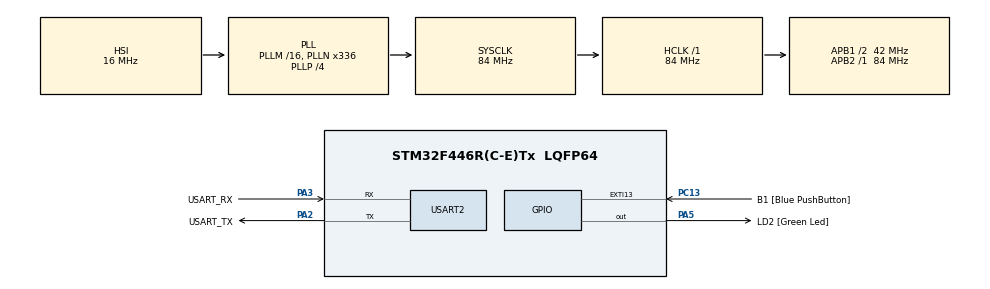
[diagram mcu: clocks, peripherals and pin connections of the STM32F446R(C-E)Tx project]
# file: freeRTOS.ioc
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FREERTOS.Tasks01=TaskAsilD,24,128,StartTaskAsilD,Default,NULL,Dynamic,NULL,NULL;TaskQM,8,128,StartTaskQM,Default,NULL,Dynamic,NULL,NULL
Mcu.Family=STM32F4
Mcu.Name=STM32F446R(C-E)Tx
Mcu.Package=LQFP64
NVIC.PriorityGroup=NVIC_PRIORITYGROUP_4
NVIC.TIM6_DAC_IRQn=true\:15\:0\:false\:false\:true\:false\:false\:true\:true
NVIC.TimeBase=TIM6_DAC_IRQn
NVIC.TimeBaseIP=TIM6
NVIC.USART2_IRQn=true\:5\:0\:false\:false\:true\:true\:true\:true\:true
PA13.GPIO_Label=TMS
PA13.Mode=Trace_Asynchronous_SW
PA13.Signal=SYS_JTMS-SWDIO
PA14.GPIO_Label=TCK
PA14.Mode=Trace_Asynchronous_SW
PA14.Signal=SYS_JTCK-SWCLK
PA2.GPIO_Label=USART_TX
PA2.Mode=Asynchronous
PA2.Signal=USART2_TX
PA3.GPIO_Label=USART_RX
PA3.Mode=Asynchronous
PA3.Signal=USART2_RX
PA5.GPIO_Label=LD2 [Green Led]
PA5.Signal=GPIO_Output
PB3.GPIO_Label=SWO
PB3.Mode=Trace_Asynchronous_SW
PB3.Signal=SYS_JTDO-SWO
PC13.GPIO_Label=B1 [Blue PushButton]
PC13.GPIO_ModeDefaultEXTI=GPIO_MODE_IT_FALLING
PC13.Signal=GPXTI13
PC14-OSC32_IN.Mode=LSE-External-Oscillator
PC14-OSC32_IN.Signal=RCC_OSC32_IN
PC15-OSC32_OUT.Mode=LSE-External-Oscillator
PC15-OSC32_OUT.Signal=RCC_OSC32_OUT
PH0-OSC_IN.Mode=HSE-External-Oscillator
PH0-OSC_IN.Signal=RCC_OSC_IN
PH1-OSC_OUT.Mode=HSE-External-Oscillator
PH1-OSC_OUT.Signal=RCC_OSC_OUT
ProjectManager.HeapSize=0x200
ProjectManager.StackSize=0x400
ProjectManager.TargetToolchain=STM32CubeIDE
RCC.48MHZClocksFreq_Value=84000000
RCC.AHBFreq_Value=84000000
RCC.APB1CLKDivider=RCC_HCLK_DIV2
RCC.APB1Freq_Value=42000000
RCC.APB1TimFreq_Value=84000000
RCC.APB2Freq_Value=84000000
RCC.APB2TimFreq_Value=84000000
RCC.CortexFreq_Value=84000000
RCC.FLatency-AdvancedSettings=FLASH_LATENCY_2
RCC.HCLKFreq_Value=84000000
RCC.HSE_VALUE=8000000
RCC.HSI_VALUE=16000000
RCC.PLLN=336
RCC.PLLP=RCC_PLLP_DIV4
RCC.SYSCLKFreq_VALUE=84000000
RCC.SYSCLKSource=RCC_SYSCLKSOURCE_PLLCLK
RCC.USBFreq_Value=168000000
RCC.VCOOutputFreq_Value=336000000
USART2.VirtualMode=VM_ASYNC
VP_FREERTOS_VS_CMSIS_V2.Mode=CMSIS_V2
VP_SYS_VS_tim6.Mode=TIM6
board=NUCLEO-F446RE

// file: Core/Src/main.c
/* USER CODE BEGIN Header */
/**
  ******************************************************************************
  * @file           : main.c
  * @brief          : Main program body
  ******************************************************************************
  * @attention
  *
  * Copyright (c) 2023 STMicroelectronics.
  * All rights reserved.
  *
  * This software is licensed under terms that can be found in the LICENSE file
  * in the root directory of this software component.
  * If no LICENSE file comes with this software, it is provided AS-IS.
  *
  ******************************************************************************
  */
/* USER CODE END Header */
#include "main.h"
#include "cmsis_os.h"

/* USER CODE BEGIN Includes */
#include <string.h>
#include <stdio.h>
/* USER CODE END Includes */

UART_HandleTypeDef huart2;

/* Definitions for TaskAsilD */
osThreadId_t TaskAsilDHandle;
const osThreadAttr_t TaskAsilD_attributes = {
  .name = "TaskAsilD",
  .stack_size = 128 * 4,
  .priority = (osPriority_t) osPriorityNormal,
};
/* Definitions for TaskQM */
osThreadId_t TaskQMHandle;
const osThreadAttr_t TaskQM_attributes = {
  .name = "TaskQM",
  .stack_size = 128 * 4,
  .priority = (osPriority_t) osPriorityLow,
};

void SystemClock_Config(void);
static void MX_GPIO_Init(void);
static void MX_USART2_UART_Init(void);
void StartTaskAsilD(void *argument);
void StartTaskQM(void *argument);

/* USER CODE BEGIN 0 */
int _write(int file, char *ptr, int len)
{
	HAL_UART_Transmit(&huart2, (uint8_t*) ptr, (uint16_t) len, HAL_MAX_DELAY);
	return len;
}
/* USER CODE END 0 */

int main(void)
{

  /* MCU Configuration--------------------------------------------------------*/

  /* Reset of all peripherals, Initializes the Flash interface and the Systick. */
  HAL_Init();

  /* Configure the system clock */
  SystemClock_Config();

  /* Initialize all configured peripherals */
  MX_GPIO_Init();
  MX_USART2_UART_Init();

  /* Init scheduler */
  osKernelInitialize();

  /* Create the thread(s) */
  /* creation of TaskAsilD */
  TaskAsilDHandle = osThreadNew(StartTaskAsilD, NULL, &TaskAsilD_attributes);

  /* creation of TaskQM */
  TaskQMHandle = osThreadNew(StartTaskQM, NULL, &TaskQM_attributes);

  /* Start scheduler */
  osKernelStart();
  /* We should never get here as control is now taken by the scheduler */
  /* Infinite loop */
  while (1)
  {

  }
}

void SystemClock_Config(void)
{
  RCC_OscInitTypeDef RCC_OscInitStruct = {0};
  RCC_ClkInitTypeDef RCC_ClkInitStruct = {0};

  /** Configure the main internal regulator output voltage
  */
  __HAL_RCC_PWR_CLK_ENABLE();
  __HAL_PWR_VOLTAGESCALING_CONFIG(PWR_REGULATOR_VOLTAGE_SCALE3);

  /** Initializes the RCC Oscillators according to the specified parameters
  * in the RCC_OscInitTypeDef structure.
  */
  RCC_OscInitStruct.OscillatorType = RCC_OSCILLATORTYPE_HSI;
  RCC_OscInitStruct.HSIState = RCC_HSI_ON;
  RCC_OscInitStruct.HSICalibrationValue = RCC_HSICALIBRATION_DEFAULT;
  RCC_OscInitStruct.PLL.PLLState = RCC_PLL_ON;
  RCC_OscInitStruct.PLL.PLLSource = RCC_PLLSOURCE_HSI;
  RCC_OscInitStruct.PLL.PLLM = 16;
  RCC_OscInitStruct.PLL.PLLN = 336;
  RCC_OscInitStruct.PLL.PLLP = RCC_PLLP_DIV4;
  RCC_OscInitStruct.PLL.PLLQ = 2;
  RCC_OscInitStruct.PLL.PLLR = 2;
  if (HAL_RCC_OscConfig(&RCC_OscInitStruct) != HAL_OK)
  {
    Error_Handler();
  }

  /** Initializes the CPU, AHB and APB buses clocks
  */
  RCC_ClkInitStruct.ClockType = RCC_CLOCKTYPE_HCLK|RCC_CLOCKTYPE_SYSCLK
                              |RCC_CLOCKTYPE_PCLK1|RCC_CLOCKTYPE_PCLK2;
  RCC_ClkInitStruct.SYSCLKSource = RCC_SYSCLKSOURCE_PLLCLK;
  RCC_ClkInitStruct.AHBCLKDivider = RCC_SYSCLK_DIV1;
  RCC_ClkInitStruct.APB1CLKDivider = RCC_HCLK_DIV2;
  RCC_ClkInitStruct.APB2CLKDivider = RCC_HCLK_DIV1;

  if (HAL_RCC_ClockConfig(&RCC_ClkInitStruct, FLASH_LATENCY_2) != HAL_OK)
  {
    Error_Handler();
  }
}

static void MX_USART2_UART_Init(void)
{

  huart2.Instance = USART2;
  huart2.Init.BaudRate = 115200;
  huart2.Init.WordLength = UART_WORDLENGTH_8B;
  huart2.Init.StopBits = UART_STOPBITS_1;
  huart2.Init.Parity = UART_PARITY_NONE;
  huart2.Init.Mode = UART_MODE_TX_RX;
  huart2.Init.HwFlowCtl = UART_HWCONTROL_NONE;
  huart2.Init.OverSampling = UART_OVERSAMPLING_16;
  if (HAL_UART_Init(&huart2) != HAL_OK)
  {
    Error_Handler();
  }

}

static void MX_GPIO_Init(void)
{
  GPIO_InitTypeDef GPIO_InitStruct = {0};

  /* GPIO Ports Clock Enable */
  __HAL_RCC_GPIOC_CLK_ENABLE();
  __HAL_RCC_GPIOH_CLK_ENABLE();
  __HAL_RCC_GPIOA_CLK_ENABLE();
  __HAL_RCC_GPIOB_CLK_ENABLE();

  /*Configure GPIO pin Output Level */
  HAL_GPIO_WritePin(LD2_GPIO_Port, LD2_Pin, GPIO_PIN_RESET);

  /*Configure GPIO pin : B1_Pin */
  GPIO_InitStruct.Pin = B1_Pin;
  GPIO_InitStruct.Mode = GPIO_MODE_IT_FALLING;
  GPIO_InitStruct.Pull = GPIO_NOPULL;
  HAL_GPIO_Init(B1_GPIO_Port, &GPIO_InitStruct);

  /*Configure GPIO pin : LD2_Pin */
  GPIO_InitStruct.Pin = LD2_Pin;
  GPIO_InitStruct.Mode = GPIO_MODE_OUTPUT_PP;
  GPIO_InitStruct.Pull = GPIO_NOPULL;
  GPIO_InitStruct.Speed = GPIO_SPEED_FREQ_LOW;
  HAL_GPIO_Init(LD2_GPIO_Port, &GPIO_InitStruct);

}

void StartTaskAsilD(void *argument)
{
  /* USER CODE BEGIN 5 */
  char* msg="STM32 robot is alive, whaaat'up\n";

	/* Sending to PC */
	HAL_UART_Transmit(&huart2, (uint8_t*) msg, (uint16_t) strlen(msg), HAL_MAX_DELAY);
  /* Infinite loop */
  for(;;)
  {
    osDelay(1000);
  }
  /* USER CODE END 5 */
}

void StartTaskQM(void *argument)
{
  /* USER CODE BEGIN StartTaskQM */
  uint8_t pData = 2;
  uint16_t Size = 1;
  printf("started TaskQM\n");

  HAL_UART_Receive(&huart2, &pData, Size, HAL_MAX_DELAY);
  if(NULL != &pData)
  {
	  switch(pData)
	  {
	  case 1:
		  printf("stm32 robot received 1 hurrayy \n");
		  break;
	  case 2:
		  printf("stm32 robot received 2 hurrayy \n");
		  break;
	  case 3:
		  printf("stm32 robot received 3 hurrayy \n");
		  break;
	  case 4:
		  printf("stm32 robot received 4 hurrayy \n");
		  break;
	  default:
		  printf("Error_Received value not in 1..4\n");
		  return;
	  }
  }
  else
  {
	  Error_Handler();
  }
  /* Infinite loop */
  for(;;)
  {
    osDelay(1000);
  }
  /* USER CODE END StartTaskQM */
}

void HAL_TIM_PeriodElapsedCallback(TIM_HandleTypeDef *htim)
{
  if (htim->Instance == TIM6) {
    HAL_IncTick();
  }
}

void Error_Handler(void)
{
  __disable_irq();
  while (1)
  {
  }
}
